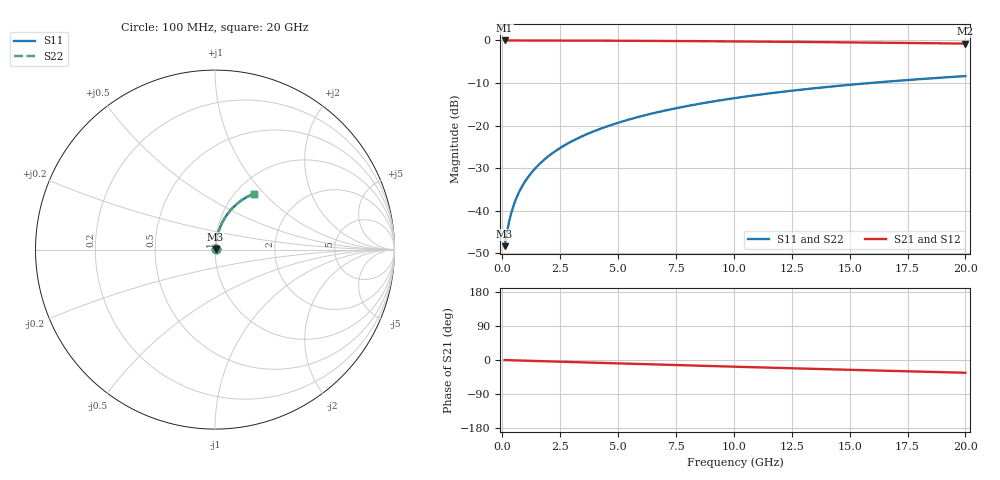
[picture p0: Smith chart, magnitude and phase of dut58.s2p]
! Touchstone file exported from HFSS 2026.1.0
!  File:  C:/ffzhzh/LocalFiles/Ansys_Project_Files/temp_train_BSMRDL_58_1782882678_42304.aedt
!  Generated:  01:12:35 PM Jul  1, 2026
!  Design:  BSMRDL
!  Project:  temp_train_BSMRDL_58_1782882678_42304
! Variables:
!  h_bsmrdl = 2.56um
!  h_ox = 20um
!  h_rdl = 5um
!  h_sub = 80um
!  h_tmrdl = 5um
!  h_tsv = 80um
!  h_via = 3um
!  l_bsmrdl = 408.79um
!  l_sub = 808.79um
!  l_tmrdl = 200um
!  m_sub = 200um
!  pitch = 58.58um
!  r_tsv = 6um
!  s_tmrdl = 10um
!  w_bsmrdl = 20.1um
!  w_sub = 500um
!  w_tmrdl = 12um
!  x_tsv_center1 = 206um
!  x_tsv_center2 = 634.89um
!  x_tsv_center3 = 846.89um
!  x_tsv_center4 = 1275.78um
!  x_tsv_center5 = 1487.78um
!  x_tsv_center6 = 1916.67um
# GHz S MA R 50.000000
! Terminal data exported
! Port[1] = BSM_RDL1_1_T1
! Port[2] = BSM_RDL1_1_T2
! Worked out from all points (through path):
!   200 points, 100 MHz to 20 GHz, reference 50 ohm
!   highest |S21| = -0.03 dB at 100 MHz (marker M1); lowest = -0.8 dB at 20 GHz (marker M2)
!   group delay of S21, straight-line fit = 4.69 ps
!   lowest |S11| = -48.3 dB at 100 MHz (marker M3), VSWR 1.01, Z = 50.3 + j0.233 ohm
!   |S11| at or under -10 dB: start of sweep to 15.91 GHz
!   |S22| runs from -48.3 to -8.4 dB; largest |S21 - S12| = 2.1e-15
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0.1  0.003851 36.9  0.9969 -0.2  0.9969 -0.2  0.003851 36.9
! Gamma 0 0 0 0
! Port Impedance 50 0 50 0
0.2  0.005586 55.5  0.9969 -0.4  0.9969 -0.4  0.005586 55.5
0.3  0.007606 64.3  0.9967 -0.6  0.9967 -0.6  0.007606 64.3
0.4  0.009706 69.2  0.9966 -0.7  0.9966 -0.7  0.009706 69.2
0.5  0.01183 72.3  0.9965 -0.9  0.9965 -0.9  0.01183 72.3
0.6  0.01395 74.4  0.9964 -1.1  0.9964 -1.1  0.01395 74.4
0.8  0.01821 77.0  0.9962 -1.5  0.9962 -1.5  0.01821 77.0
1.1  0.0246 79.2  0.996 -2.0  0.996 -2.0  0.0246 79.2
1.5  0.03317 80.6  0.9956 -2.7  0.9956 -2.7  0.03317 80.6
1.8  0.03961 81.1  0.9953 -3.3  0.9953 -3.3  0.03961 81.1
2.1  0.04605 81.2  0.995 -3.8  0.995 -3.8  0.04605 81.2
2.7  0.05895 81.2  0.9942 -4.9  0.9942 -4.9  0.05895 81.2
3.5  0.07609 80.5  0.9929 -6.3  0.9929 -6.3  0.07609 80.5
4.2  0.09101 79.7  0.9915 -7.5  0.9915 -7.5  0.09101 79.7
5  0.1079 78.6  0.9896 -9.0  0.9896 -9.0  0.1079 78.6
5.9  0.1268 77.3  0.9871 -10.6  0.9871 -10.6  0.1268 77.3
6.8  0.1454 75.9  0.9843 -12.1  0.9843 -12.1  0.1454 75.9
8.3  0.1759 73.5  0.9789 -14.7  0.9789 -14.7  0.1759 73.5
10.1  0.2113 70.5  0.9714 -17.8  0.9714 -17.8  0.2113 70.5
13.4  0.2728 65.2  0.9551 -23.3  0.9551 -23.3  0.2728 65.2
16.7  0.3294 60.0  0.9364 -28.6  0.9364 -28.6  0.3294 60.0
20  0.3807 55.1  0.9163 -33.7  0.9163 -33.7  0.3807 55.1
